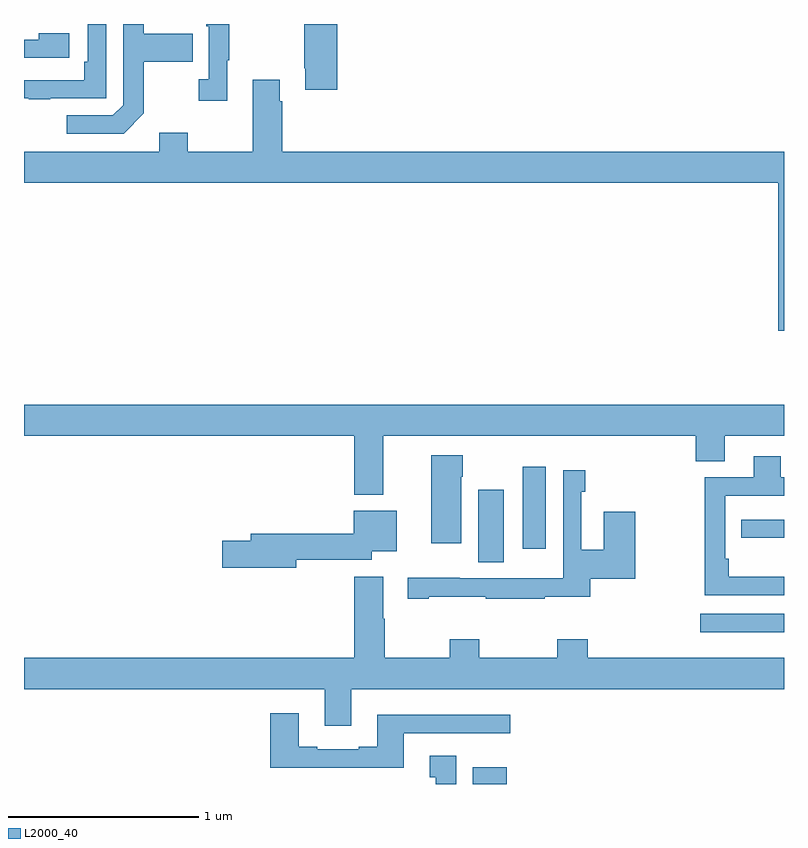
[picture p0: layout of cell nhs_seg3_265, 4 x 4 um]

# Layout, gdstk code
import gdstk
lib = gdstk.Library(unit=1e-6, precision=1e-09)
def R(c, l, rs):  # rectangles x0, y0, x1, y1
    for r in rs: c.add(gdstk.rectangle(r[:2], r[2:], *l))
def P(c, l, *ps):  # polygons
    for p in ps: c.add(gdstk.Polygon(p, *l))
L2000_40 = (2000, 40)

nhs_seg3_265 = lib.new_cell('nhs_seg3_265')
R(nhs_seg3_265, L2000_40, [(125.363,716.4,125.542,716.488), (126.558,717.2,127,717.297), (125.39,717.568,125.524,717.949), (125.624,717.639,125.746,718.069)])
P(nhs_seg3_265, L2000_40, [(123.631,719.929),(123.631,720.202),(123.887,720.202),(123.887,720.349),(123.631,720.349),(123.631,720.4),(123.522,720.4),(123.522,719.973),(123.468,719.919),(123.225,719.919),(123.225,719.823),(123.525,719.823)],
  [(124.649,720.4),(124.474,720.4),(124.474,720.166),(124.481,720.166),(124.481,720.054),(124.649,720.054)],
  [(123.137,720.009),(123.432,720.009),(123.432,720.4),(123.336,720.4),(123.336,720.202),(123.316,720.202),(123.316,720.105),(123,720.105),(123,720.009),(123.025,720.009),(123.025,720.004),(123.137,720.004)],
  [(124.069,720.209),(124.081,720.209),(124.081,720.4),(123.96,720.4),(123.96,720.389),(123.972,720.389),(123.972,720.11),(123.921,720.11),(123.921,719.997),(124.069,719.997)],
  [(123.238,720.352),(123.077,720.352),(123.077,720.318),(123,720.318),(123,720.222),(123.238,720.222)],
  [(127,719.728),(124.358,719.728),(124.358,719.993),(124.345,719.993),(124.345,720.106),(124.205,720.106),(124.205,719.728),(123.861,719.728),(123.861,719.827),(123.713,719.827),(123.713,719.728),(123,719.728),(123,719.564),(126.971,719.564),(126.971,718.785),(127,718.785)],
  [(124.891,718.232),(126.536,718.232),(126.536,718.099),(126.688,718.099),(126.688,718.232),(127,718.232),(127,718.396),(123,718.396),(123,718.232),(124.739,718.232),(124.739,717.923),(124.891,717.923)],
  [(125.302,718.016),(125.31,718.016),(125.31,718.129),(125.144,718.129),(125.144,717.666),(125.302,717.666)],
  [(127,717.491),(126.71,717.491),(126.71,717.586),(126.69,717.586),(126.69,717.918),(127,717.918),(127,718.014),(126.982,718.014),(126.982,718.126),(126.842,718.126),(126.842,718.014),(126.582,718.014),(126.582,717.393),(127,717.393)],
  [(125.131,717.385),(125.431,717.385),(125.431,717.375),(125.741,717.375),(125.741,717.385),(125.981,717.385),(125.981,717.479),(126.216,717.479),(126.216,717.832),(126.05,717.832),(126.05,717.632),(125.934,717.632),(125.934,717.938),(125.954,717.938),(125.954,718.051),(125.838,718.051),(125.838,717.484),(125.628,717.484),(125.628,717.483),(125.294,717.483),(125.294,717.485),(125.019,717.485),(125.019,717.375),(125.131,717.375)],
  [(124.432,717.58),(124.83,717.58),(124.83,717.626),(124.963,717.626),(124.963,717.838),(124.736,717.838),(124.736,717.716),(124.193,717.716),(124.193,717.68),(124.044,717.68),(124.044,717.538),(124.432,717.538)],
  [(127,717.792),(126.886,717.792),(126.886,717.791),(126.775,717.791),(126.775,717.695),(127,717.695)],
  [(124.723,716.9),(127,716.9),(127,717.064),(125.966,717.064),(125.966,717.163),(125.806,717.163),(125.806,717.064),(125.397,717.064),(125.397,717.163),(125.242,717.163),(125.242,717.064),(124.899,717.064),(124.899,717.269),(124.891,717.269),(124.891,717.49),(124.739,717.49),(124.739,717.064),(123,717.064),(123,716.9),(124.583,716.9),(124.583,716.706),(124.723,716.706)],
  [(124.999,716.667),(125.56,716.667),(125.56,716.764),(124.859,716.764),(124.859,716.596),(124.763,716.596),(124.763,716.583),(124.543,716.583),(124.543,716.596),(124.447,716.596),(124.447,716.773),(124.295,716.773),(124.295,716.486),(124.999,716.486)],
  [(125.275,716.548),(125.135,716.548),(125.135,716.435),(125.168,716.435),(125.168,716.4),(125.275,716.4)])

lib.write_gds('nhs_seg3_265.gds')
